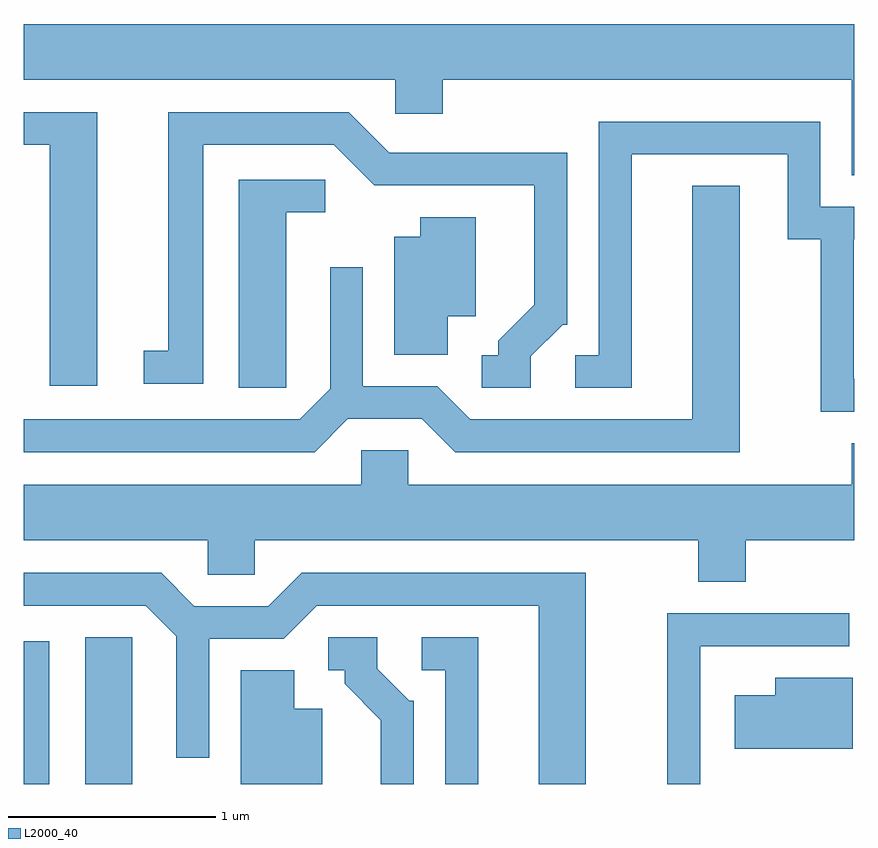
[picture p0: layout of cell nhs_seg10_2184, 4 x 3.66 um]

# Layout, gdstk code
import gdstk
lib = gdstk.Library(unit=1e-6, precision=1e-09)
def R(c, l, rs):  # rectangles x0, y0, x1, y1
    for r in rs: c.add(gdstk.rectangle(r[:2], r[2:], *l))
def P(c, l, *ps):  # polygons
    for p in ps: c.add(gdstk.Polygon(p, *l))
L2000_40 = (2000, 40)

nhs_seg10_2184 = lib.new_cell('nhs_seg10_2184')
R(nhs_seg10_2184, L2000_40, [(249.611,2110.522,249.734,2111.209), (249.906,2110.522,250.134,2111.229)])
P(nhs_seg10_2184, L2000_40, [(253.611,2114.184),(249.611,2114.184),(249.611,2113.916),(251.401,2113.916),(251.401,2113.751),(251.629,2113.751),(251.629,2113.916),(253.601,2113.916),(253.601,2113.456),(253.611,2113.456)],
  [(249.964,2113.759),(249.611,2113.759),(249.611,2113.601),(249.736,2113.601),(249.736,2112.441),(249.964,2112.441)],
  [(252.054,2112.584),(252.207,2112.736),(252.229,2112.736),(252.229,2113.564),(251.372,2113.564),(251.177,2113.759),(250.306,2113.759),(250.306,2112.609),(250.188,2112.609),(250.188,2112.451),(250.474,2112.451),(250.474,2113.601),(251.104,2113.601),(251.299,2113.406),(252.071,2113.406),(252.071,2112.832),(251.896,2112.657),(251.896,2112.589),(251.818,2112.589),(251.818,2112.431),(252.054,2112.431)],
  [(253.611,2112.474),(253.609,2112.474),(253.609,2113.146),(253.611,2113.146),(253.611,2113.304),(253.449,2113.304),(253.449,2113.714),(252.381,2113.714),(252.381,2112.589),(252.268,2112.589),(252.268,2112.431),(252.539,2112.431),(252.539,2113.556),(253.291,2113.556),(253.291,2113.146),(253.451,2113.146),(253.451,2112.316),(253.611,2112.316)],
  [(250.874,2113.276),(251.063,2113.276),(251.063,2113.434),(250.646,2113.434),(250.646,2112.431),(250.874,2112.431)],
  [(251.172,2112.281),(251.529,2112.281),(251.689,2112.121),(253.059,2112.121),(253.059,2113.404),(252.831,2113.404),(252.831,2112.279),(251.762,2112.279),(251.602,2112.439),(251.244,2112.439),(251.244,2113.013),(251.086,2113.013),(251.086,2112.427),(250.939,2112.279),(249.611,2112.279),(249.611,2112.121),(251.012,2112.121)],
  [(251.654,2112.776),(251.789,2112.776),(251.789,2113.254),(251.521,2113.254),(251.521,2113.159),(251.396,2113.159),(251.396,2112.591),(251.654,2112.591)],
  [(252.861,2111.496),(253.089,2111.496),(253.089,2111.696),(253.611,2111.696),(253.611,2112.164),(253.601,2112.164),(253.601,2111.964),(251.464,2111.964),(251.464,2112.129),(251.236,2112.129),(251.236,2111.964),(249.611,2111.964),(249.611,2111.696),(250.496,2111.696),(250.496,2111.531),(250.724,2111.531),(250.724,2111.696),(252.861,2111.696)],
  [(252.319,2111.539),(250.949,2111.539),(250.789,2111.379),(250.432,2111.379),(250.272,2111.539),(249.611,2111.539),(249.611,2111.381),(250.199,2111.381),(250.346,2111.234),(250.346,2110.648),(250.504,2110.648),(250.504,2111.221),(250.862,2111.221),(251.022,2111.381),(252.091,2111.381),(252.091,2110.522),(252.319,2110.522)],
  [(252.869,2111.186),(253.588,2111.186),(253.588,2111.344),(252.711,2111.344),(252.711,2110.522),(252.869,2110.522)],
  [(251.799,2111.229),(251.528,2111.229),(251.528,2111.071),(251.641,2111.071),(251.641,2110.522),(251.799,2110.522)],
  [(251.489,2110.924),(251.467,2110.924),(251.314,2111.077),(251.314,2111.229),(251.078,2111.229),(251.078,2111.071),(251.156,2111.071),(251.156,2111.004),(251.331,2110.829),(251.331,2110.522),(251.489,2110.522)],
  [(251.049,2110.884),(250.914,2110.884),(250.914,2111.069),(250.656,2111.069),(250.656,2110.522),(251.049,2110.522)],
  [(253.604,2111.034),(253.231,2111.034),(253.231,2110.949),(253.036,2110.949),(253.036,2110.691),(253.604,2110.691)])

lib.write_gds('nhs_seg10_2184.gds')
